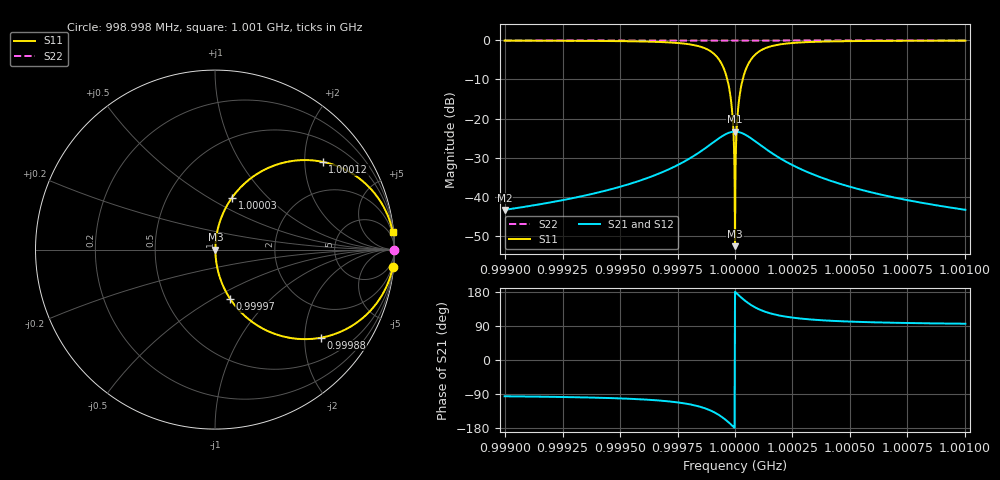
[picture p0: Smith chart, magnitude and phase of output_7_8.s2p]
! File generated for n1 = 7, n2 = 8
! b1 = 1.000000
! b2 = 0.004642
! Q0 = 10000.000000
! f0 = 1000000000.000000
! n = 1001
! rel_span = 10.000000
# Hz S RI R 50
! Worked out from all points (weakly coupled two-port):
!   1001 points, 998.998 MHz to 1.001 GHz, reference 50 ohm
!   highest |S21| = -23.35 dB at 1 GHz (marker M1); lowest = -43.4 dB at 998.998 MHz (marker M2)
!   lowest |S11| = -52.7 dB at 1 GHz (marker M3), VSWR 1.00, Z = 50.2 + j0 ohm
!   |S11| at or under -10 dB: 999.9666 MHz to 1.000033 GHz (66.85 kHz wide, 0.00669 % of centre)
!   |S22| runs from 0.0 to 0.0 dB; largest |S21 - S12| = 0
!   S11 on the Smith chart (normalised r, x): 998.998 MHz: 1, -20; 999.88 MHz: 1.00, -2.41; 999.97 MHz: 1.00, -0.60; 1.00003 GHz: 1.00, +0.64; 1.00012 GHz: 1.00, +2.45; 1.001 GHz: 1, +20
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9.989977e8  0.9901 -0.0987  -0.000672 -0.00673  -0.000672 -0.00673  1 -0.000458
9.993325e8  0.978 -0.1465  -0.0015 -0.00998  -0.0015 -0.00998  0.9999 -0.00068
9.996672e8  0.917 -0.2755  -0.00565 -0.0188  -0.00565 -0.0188  0.9996 -0.00128
9.997955e8  0.8067 -0.3943  -0.0132 -0.0269  -0.0132 -0.0269  0.9991 -0.00183
9.998797e8  0.5911 -0.4907  -0.0279 -0.0334  -0.0279 -0.0334  0.9981 -0.00228
9.999359e8  0.2922 -0.453  -0.0482 -0.0309  -0.0482 -0.0309  0.9967 -0.0021
9.999699e8  0.0847 -0.2746  -0.0624 -0.0187  -0.0624 -0.0187  0.9958 -0.00127
9.99982e8  0.0336 -0.1739  -0.0658 -0.0119  -0.0658 -0.0119  0.9955 -0.000807
9.99988e8  0.0165 -0.118  -0.067 -0.00804  -0.067 -0.00804  0.9954 -0.000548
9.99992e8  0.00866 -0.0793  -0.0675 -0.0054  -0.0675 -0.0054  0.9954 -0.000368
1e9  0.00232 0  -0.068 0  -0.068 0  0.9954 0
1.000008e9  0.00866 0.0793  -0.0675 0.0054  -0.0675 0.0054  0.9954 0.000368
1.00001e9  0.0122 0.0988  -0.0673 0.00673  -0.0673 0.00673  0.9954 0.000458
1.000012e9  0.0165 0.118  -0.067 0.00804  -0.067 0.00804  0.9954 0.000548
1.000018e9  0.0336 0.1739  -0.0658 0.0119  -0.0658 0.0119  0.9955 0.000807
1.000032e9  0.095 0.2896  -0.0617 0.0197  -0.0617 0.0197  0.9958 0.00134
1.000066e9  0.305 0.4587  -0.0473 0.0312  -0.0473 0.0312  0.9968 0.00213
1.000122e9  0.599 0.4891  -0.0273 0.0333  -0.0273 0.0333  0.9981 0.00227
1.000206e9  0.8097 0.392  -0.013 0.0267  -0.013 0.0267  0.9991 0.00182
1.000335e9  0.9179 0.2742  -0.00559 0.0187  -0.00559 0.0187  0.9996 0.00127
1.00067e9  0.9781 0.1461  -0.00149 0.00996  -0.00149 0.00996  0.9999 0.000678
1.001002e9  0.9901 0.0988  -0.000674 0.00673  -0.000674 0.00673  1 0.000459
